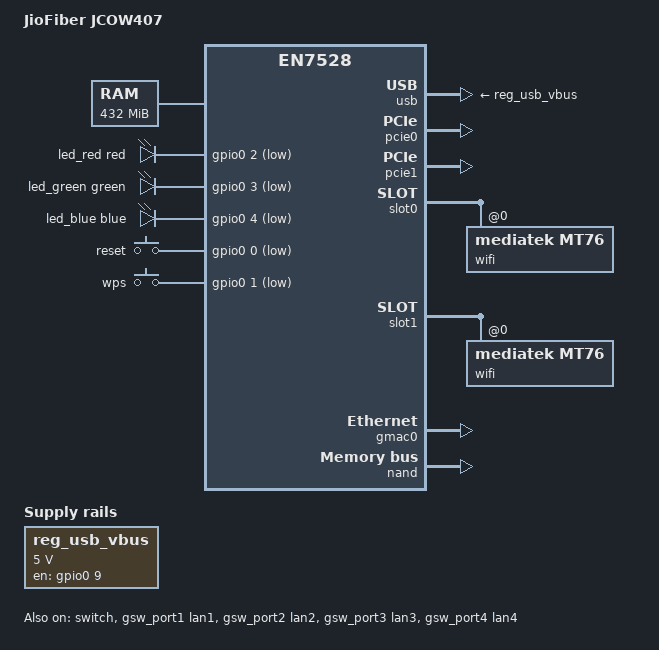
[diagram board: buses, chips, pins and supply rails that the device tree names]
// SPDX-License-Identifier: (GPL-2.0-only OR BSD-2-Clause)
/dts-v1/;

#include "en7528.dtsi"

#include <dt-bindings/gpio/gpio.h>
#include <dt-bindings/input/input.h>
#include <dt-bindings/leds/common.h>

/*
 * JioFiber JCOW407 (Reliance Jio GPON ONT) — EcoNet/Airoha EN7528, MIPS 1004Kc.
 * First-cut port derived from the in-tree DASAN H660GM-A (Airtel) EN7528 ONT.
 *
 * VERIFIED from this unit's serial boot capture (~/407/boot_capture.log):
 *   - SoC EN7528 (econet,en7528 subtarget), little-endian 1004Kc
 *   - RAM 512 MB DDR3        (DASAN reference is 256 MB)
 *   - SPI-NAND Micron MT29F2G01 (256 MB)
 *   - Wi-Fi MediaTek MT7663  (ChipID 0x7663) -> mt76 (mt7615e + mt7603)
 *   - Flash partition offsets: bootloader@0, romfile@0x40000, tclinux@0x80000
 *     (size 0x2800000), tclinux_slave@0x2880000, opt0/opt1/ubifs/config/ubifs2,
 *     reservearea@0xddc0000 (0x240000)  <- reservearea + bootloader + romfile
 *     offsets MATCH DASAN exactly.
 *
 * UNVERIFIED (inherited from DASAN H660GM-A — confirm on-device once root):
 *   - LED / gpio-keys GPIO numbers
 *   - MAC base offset inside romfile/dzs (DASAN: macaddr@a in "dzs")
 *   - Wi-Fi precal/EEPROM offsets inside reservearea (DASAN: 0x40000 / 0x1c0000)
 *   - usb vbus GPIO, ethernet switch/PHY port map
 */

/ {
	model = "JioFiber JCOW407";
	compatible = "jio,jcow407", "econet,en7528";

	aliases {
		led-boot = &led_green;
		led-failsafe = &led_red;
		led-running = &led_green;
		led-upgrade = &led_blue;
		serial0 = &uart;
	};

	memory@0 {
		device_type = "memory";
		/* 512 MB physical, BUT SoC peripheral MMIO sits at 0x1fbf0000 (uart),
		 * 0x1fb8xxxx (pcie), 0x1fb90000 (usb). A flat 0x0-0x1fffffff RAM node
		 * overlaps that block, so ioremap() of the UART returns NULL and the
		 * 8250 probe panics in set_mctrl. The vendor kernel caps usable RAM at
		 * 0x1affffff, so limit RAM to 0x1b000000 (432 MB) below the MMIO hole. */
		reg = <0x00000000 0x1b000000>;
	};

	chosen {
		stdout-path = "serial0:115200n8";
		linux,usable-memory-range = <0x00020000 0x1afe0000>;
		/* Attach UBI on the "opt0" partition (mtd) at boot so fstools
		 * mounts its "rootfs_data" volume as the /overlay — persistent
		 * config on NAND. opt0 is used because the stock firmware owns the
		 * "ubifs"/"ubifs2" partitions (its config_data /flash + config_data2
		 * /flash2) and reformats them on boot, so putting the OpenWrt overlay
		 * there would make stock (Slot A) and OpenWrt clobber each other's
		 * data. opt0 is untouched by stock, so the two coexist. jffs2-in-
		 * mtdblock split does not work on NAND. */
		bootargs = "ubi.mtd=opt0";
	};

	/*
	 * Single tri-colour system/status LED on GPIO 2/3/4 (red/green/blue).
	 * Source: stock JCOW407_R2.35 /userfs/led.conf (tabular led_no/gpio/mode,
	 * read by tcledctrl.ko), cross-checked via ledctl1 (led_no 78/79/80 ->
	 * gpio 2/3/4). VERIFIED on hardware: driving red lit the panel LED solid
	 * red and green is the default power LED -> GPIO map + ACTIVE_LOW polarity
	 * confirmed. The four RJ45 link/activity LEDs are driven by the MT7530
	 * switch/PHY in hardware (a linked port lights with no SoC GPIO involved),
	 * so they are intentionally NOT gpio-leds. led.conf's LANPORT GPIOs
	 * (31/33/35/37 status, 30/32/34/36 act) drive no visible front-panel LED
	 * on this board and were dropped after on-HW testing.
	 */
	leds {
		compatible = "gpio-leds";

		led_red: red {
			color = <LED_COLOR_ID_RED>;
			function = LED_FUNCTION_STATUS;
			gpios = <&gpio0 2 GPIO_ACTIVE_LOW>;
		};

		led_green: green {
			color = <LED_COLOR_ID_GREEN>;
			function = LED_FUNCTION_POWER;
			gpios = <&gpio0 3 GPIO_ACTIVE_LOW>;
		};

		led_blue: blue {
			color = <LED_COLOR_ID_BLUE>;
			function = LED_FUNCTION_WAN;
			gpios = <&gpio0 4 GPIO_ACTIVE_LOW>;
		};
	};

	/* buttons: stock led.conf LED_SYS_RESET=gpio0, LED_WLAN_WPS=gpio1 (mode 5=input) */
	keys {
		compatible = "gpio-keys-polled";
		poll-interval = <100>;

		key-reset {
			label = "reset";
			gpios = <&gpio0 0 GPIO_ACTIVE_LOW>;
			linux,code = <KEY_RESTART>;
		};

		key-wps {
			label = "wps";
			gpios = <&gpio0 1 GPIO_ACTIVE_LOW>;
			linux,code = <KEY_WPS_BUTTON>;
		};
	};

	reg_usb_vbus: regulator-usb-vbus {
		compatible = "regulator-fixed";
		regulator-name = "usb-vbus";
		regulator-min-microvolt = <5000000>;
		regulator-max-microvolt = <5000000>;
		gpios = <&gpio0 9 GPIO_ACTIVE_HIGH>;	/* UNVERIFIED */
		enable-active-high;
	};
};

&usb {
	status = "okay";
	vbus-supply = <&reg_usb_vbus>;
};

&pcie0 {
	status = "okay";
};

&pcie1 {
	status = "okay";
};

/* Wi-Fi MT7663 (VERIFIED chip); MAC/precal nvmem offsets inherited — UNVERIFIED */
&slot0 {
	status = "okay";

	wifi@0,0 {
		compatible = "mediatek,mt76";
		reg = <0x0000 0 0 0 0>;
		nvmem-cells = <&macaddr_boot 8>, <&eeprom_reservearea_1c0000>;
		nvmem-cell-names = "mac-address", "eeprom";
		ieee80211-freq-limit = <2400000 2500000>;
	};
};

&slot1 {
	status = "okay";

	wifi@0,0 {
		compatible = "mediatek,mt76";
		reg = <0x0000 0 0 0 0>;
		nvmem-cells = <&macaddr_boot 9>, <&eeprom_reservearea_40000>;
		nvmem-cell-names = "mac-address", "eeprom";
		ieee80211-freq-limit = <5000000 6000000>;
	};
};

&gmac0 {
	status = "okay";
	nvmem-cells = <&macaddr_boot 7>;
	nvmem-cell-names = "mac-address";
};

/*
 * MT7530 DSA switch. The shared en7528.dtsi shrinks the frame-engine
 * register window so econet-eth no longer sets up the dumb switch; the
 * on-die MT7530 must be driven by the mt7530 DSA driver instead, or the
 * board has no LAN. Socket-to-port mapping is UNVERIFIED — labels are in
 * switch-port order for now.
 */
&switch {
	status = "okay";
};

&gsw_port1 {
	status = "okay";
	label = "lan1";
};

&gsw_port2 {
	status = "okay";
	label = "lan2";
};

&gsw_port3 {
	status = "okay";
	label = "lan3";
};

&gsw_port4 {
	status = "okay";
	label = "lan4";
};

/* --- Flash: offsets VERIFIED from JCOW407 boot capture (14-partition map) --- */
&nand {
	status = "okay";
	econet,bmt;
	econet,bbt-table-size = <250>;

	partitions: partitions {
		compatible = "fixed-partitions";
		#address-cells = <1>;
		#size-cells = <1>;

		partition@0 {
			label = "bootloader";
			reg = <0x0 0x40000>;
			read-only;
			/* Real per-device MAC base xx:xx:xx:xx:xx:xx lives here at
			 * 0x3fe48 (VERIFIED from mtd0 backup; GPON SN tail 0CEBFEC8
			 * == MAC tail). romfile is gzip-compressed so its 0xa was
			 * garbage. */
			nvmem-layout {
				compatible = "fixed-layout";
				#address-cells = <1>;
				#size-cells = <1>;

				macaddr_boot: macaddr@3fe48 {
					compatible = "mac-base";
					reg = <0x3fe48 0x6>;
					#nvmem-cell-cells = <1>;
				};
			};
		};

		/* romfile is a gzip-compressed vendor config blob (ctromfile.cfg) */
		partition@40000 {
			label = "romfile";
			reg = <0x40000 0x40000>;
		};

		partition@80000 {
			label = "tclinux";
			reg = <0x80000 0x2800000>;	/* VERIFIED size */
			econet,enable-remap;
		};

		/* rootfs = squashfs (kernel padded to 4MB by tclinux-trx) + jffs2
		 * overlay tail. Overlaps tclinux like the DASAN H660GM-A reference;
		 * squashfs starts at 0x80000+0x400000 = 0x480000. linux,rootfs lets
		 * the kernel mount root + OpenWrt auto-creates rootfs_data overlay. */
		partition@480000 {
			label = "rootfs";
			reg = <0x480000 0x2400000>;	/* 0x480000..0x2880000 (end of tclinux) */
			linux,rootfs;
		};

		partition@2880000 {
			label = "tclinux_slave";
			reg = <0x2880000 0x2800000>;
		};

		partition@5080000 {
			label = "opt0";
			reg = <0x5080000 0x800000>;
		};

		partition@5880000 {
			label = "opt1";
			reg = <0x5880000 0x800000>;
		};

		partition@6080000 {
			label = "ubifs";
			reg = <0x6080000 0x1a00000>;
		};

		partition@7a80000 {
			label = "config";
			reg = <0x7a80000 0x200000>;
		};

		partition@7c80000 {
			label = "ubifs2";
			reg = <0x7c80000 0x5a00000>;
		};

		/* reservearea — offset/size MATCH DASAN; eeprom offsets inherited (UNVERIFIED) */
		partition@ddc0000 {
			label = "reservearea";
			reg = <0xddc0000 0x240000>;
			nvmem-layout {
				compatible = "fixed-layout";
				#address-cells = <1>;
				#size-cells = <1>;

				eeprom_reservearea_40000: eeprom@40000 {
					reg = <0x40000 0x4da8>;
				};

				eeprom_reservearea_1c0000: eeprom@1c0000 {
					reg = <0x1c0000 0x400>;
				};
			};
		};
	};
};
